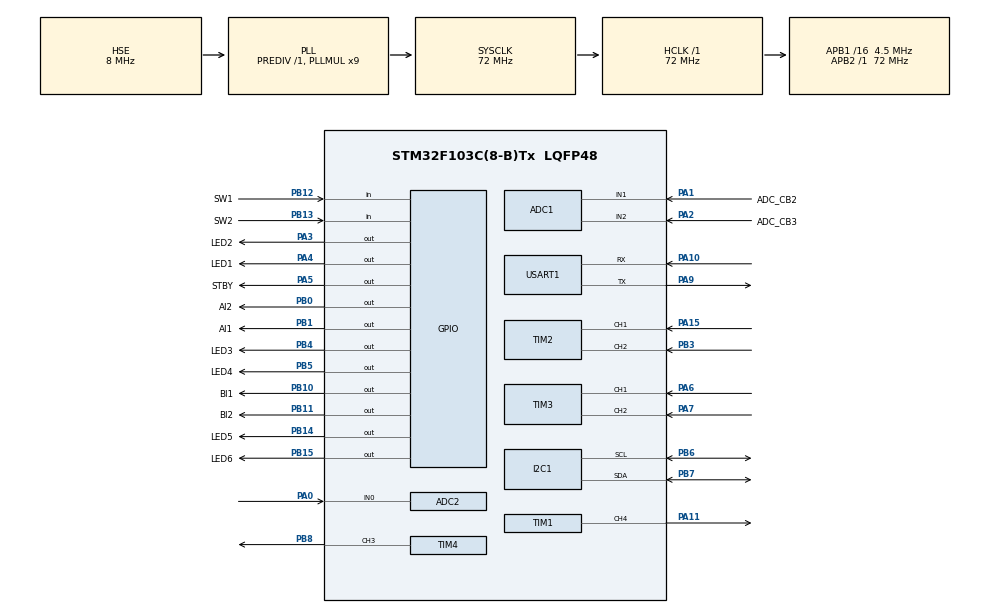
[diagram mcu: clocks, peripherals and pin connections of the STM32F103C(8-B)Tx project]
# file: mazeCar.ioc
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ADC1.Channel-3\#ChannelRegularConversion=ADC_CHANNEL_1
ADC1.Channel-4\#ChannelRegularConversion=ADC_CHANNEL_2
ADC1.ContinuousConvMode=ENABLE
ADC1.NbrOfConversion=2
ADC1.NbrOfConversionFlag=1
ADC1.Rank-3\#ChannelRegularConversion=1
ADC1.Rank-4\#ChannelRegularConversion=2
ADC1.SamplingTime-3\#ChannelRegularConversion=ADC_SAMPLETIME_239CYCLES_5
ADC1.SamplingTime-4\#ChannelRegularConversion=ADC_SAMPLETIME_239CYCLES_5
ADC1.master=1
ADC2.Channel-0\#ChannelRegularConversion=ADC_CHANNEL_0
ADC2.NbrOfConversionFlag=1
ADC2.Rank-0\#ChannelRegularConversion=1
ADC2.SamplingTime-0\#ChannelRegularConversion=ADC_SAMPLETIME_239CYCLES_5
Mcu.Family=STM32F1
Mcu.Name=STM32F103C(8-B)Tx
Mcu.Package=LQFP48
NVIC.PriorityGroup=NVIC_PRIORITYGROUP_4
NVIC.TIM2_IRQn=true\:0\:0\:false\:false\:true\:true\:true\:true
NVIC.TIM3_IRQn=true\:0\:0\:false\:false\:true\:true\:true\:true
PA0-WKUP.Signal=ADCx_IN0
PA1.GPIO_Label=ADC_CB2
PA1.Signal=ADCx_IN1
PA10.Mode=Asynchronous
PA10.Signal=USART1_RX
PA11.Signal=S_TIM1_CH4
PA13.Mode=Serial_Wire
PA13.Signal=SYS_JTMS-SWDIO
PA14.Mode=Serial_Wire
PA14.Signal=SYS_JTCK-SWCLK
PA15.Signal=S_TIM2_CH1_ETR
PA2.GPIO_Label=ADC_CB3
PA2.Signal=ADCx_IN2
PA3.GPIO_Label=LED2
PA3.Signal=GPIO_Output
PA4.GPIO_Label=LED1
PA4.Signal=GPIO_Output
PA5.GPIO_Label=STBY
PA5.Signal=GPIO_Output
PA6.Signal=S_TIM3_CH1
PA7.Signal=S_TIM3_CH2
PA9.Mode=Asynchronous
PA9.Signal=USART1_TX
PB0.GPIO_Label=AI2
PB0.Signal=GPIO_Output
PB1.GPIO_Label=AI1
PB1.Signal=GPIO_Output
PB10.GPIO_Label=BI1
PB10.Signal=GPIO_Output
PB11.GPIO_Label=BI2
PB11.Signal=GPIO_Output
PB12.GPIO_Label=SW1
PB12.GPIO_PuPd=GPIO_PULLUP
PB12.Signal=GPIO_Input
PB13.GPIO_Label=SW2
PB13.GPIO_PuPd=GPIO_PULLUP
PB13.Signal=GPIO_Input
PB14.GPIO_Label=LED5
PB14.Signal=GPIO_Output
PB15.GPIO_Label=LED6
PB15.Signal=GPIO_Output
PB3.Signal=S_TIM2_CH2
PB4.GPIO_Label=LED3
PB4.Signal=GPIO_Output
PB5.GPIO_Label=LED4
PB5.Signal=GPIO_Output
PB6.Mode=I2C
PB6.Signal=I2C1_SCL
PB7.Mode=I2C
PB7.Signal=I2C1_SDA
PB8.Signal=S_TIM4_CH3
PD0-OSC_IN.Mode=HSE-External-Oscillator
PD0-OSC_IN.Signal=RCC_OSC_IN
PD1-OSC_OUT.Mode=HSE-External-Oscillator
PD1-OSC_OUT.Signal=RCC_OSC_OUT
ProjectManager.HeapSize=0x200
ProjectManager.StackSize=0x400
ProjectManager.TargetToolchain=STM32CubeIDE
RCC.ADCPresc=RCC_ADCPCLK2_DIV6
RCC.AHBFreq_Value=72000000
RCC.APB1CLKDivider=RCC_HCLK_DIV16
RCC.APB1Freq_Value=4500000
RCC.APB1TimFreq_Value=9000000
RCC.APB2Freq_Value=72000000
RCC.APB2TimFreq_Value=72000000
RCC.HCLKFreq_Value=72000000
RCC.PLLMUL=RCC_PLL_MUL9
RCC.PLLSourceVirtual=RCC_PLLSOURCE_HSE
RCC.SYSCLKFreq_VALUE=72000000
RCC.SYSCLKSource=RCC_SYSCLKSOURCE_PLLCLK
RCC.USBFreq_Value=72000000
SH.ADCx_IN0.0=ADC2_IN0,IN0
SH.ADCx_IN1.0=ADC1_IN1,IN1
SH.ADCx_IN2.0=ADC1_IN2,IN2
SH.S_TIM1_CH4.0=TIM1_CH4,PWM Generation4 CH4
SH.S_TIM2_CH1_ETR.0=TIM2_CH1,Encoder_Interface
SH.S_TIM2_CH2.0=TIM2_CH2,Encoder_Interface
SH.S_TIM3_CH1.0=TIM3_CH1,Encoder_Interface
SH.S_TIM3_CH2.0=TIM3_CH2,Encoder_Interface
SH.S_TIM4_CH3.0=TIM4_CH3,PWM Generation3 CH3
TIM1.Channel-PWM\ Generation4\ CH4=TIM_CHANNEL_4
TIM1.Period=10000-1
TIM1.Prescaler=18-1
TIM4.Channel-PWM\ Generation3\ CH3=TIM_CHANNEL_3
TIM4.Period=10000-1
TIM4.Prescaler=18-1
USART1.VirtualMode=VM_ASYNC
VP_TIM1_VS_ClockSourceINT.Mode=Internal
VP_TIM4_VS_ClockSourceINT.Mode=Internal
board=custom

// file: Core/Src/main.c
/* USER CODE BEGIN Header */
/**
  ******************************************************************************
  * @file           : main.c
  * @brief          : Main program body
  ******************************************************************************
  * @attention
  *
  * Copyright (c) 2024 STMicroelectronics.
  * All rights reserved.
  *
  * This software is licensed under terms that can be found in the LICENSE file
  * in the root directory of this software component.
  * If no LICENSE file comes with this software, it is provided AS-IS.
  *
  ******************************************************************************
  */
/* USER CODE END Header */
#include "main.h"

/* USER CODE BEGIN Includes */
#include <stdio.h>
#include "ADXL345.h"
#include "MPU6050.h"
#include "L3G4200D.h"
#include "math.h"
/* USER CODE END Includes */

ADC_HandleTypeDef hadc1;
ADC_HandleTypeDef hadc2;

I2C_HandleTypeDef hi2c1;

TIM_HandleTypeDef htim1;
TIM_HandleTypeDef htim2;
TIM_HandleTypeDef htim3;
TIM_HandleTypeDef htim4;

UART_HandleTypeDef huart1;

/* USER CODE BEGIN PV */
uint16_t ADC_VAL[3];
float vol1 = 0;
float vol2 = 0;
float vol3 = 0;

float front_sensor = 0;
float left_sensor = 0;
float right_sensor = 0;

char Buffer[25] = {0};
uint16_t x,y,z;
MPU6050_t MPU6050;

double roll,pitch,yaw, froll, fpitch, fyaw = 0;
uint32_t elapsedTime, currentTime, previousTime;
double dt = 0.015;

uint32_t counterTim2 = 0;
int16_t countTim2 = 0;
int16_t right_wheel = 0;

uint32_t counterTim3 = 0;
int16_t countTim3 = 0;
int16_t left_wheel = 0;
int arr[6][5] = { 0 };
int speed =0;

/* USER CODE END PV */

void SystemClock_Config(void);
static void MX_GPIO_Init(void);
static void MX_ADC1_Init(void);
static void MX_USART1_UART_Init(void);
static void MX_I2C1_Init(void);
static void MX_TIM2_Init(void);
static void MX_TIM1_Init(void);
static void MX_TIM3_Init(void);
static void MX_TIM4_Init(void);
static void MX_ADC2_Init(void);

/* USER CODE BEGIN 0 */

int _write(int file, char *ptr, int len)
{
    HAL_UART_Transmit(&huart1, (uint8_t*)ptr, len, HAL_MAX_DELAY);
    return len;
}

void ADC_Select_CH0(void){
    ADC_ChannelConfTypeDef sConfig = {0};

	sConfig.Channel = ADC_CHANNEL_0;
	sConfig.Rank = ADC_REGULAR_RANK_1;
	sConfig.SamplingTime = ADC_SAMPLETIME_71CYCLES_5;
	if (HAL_ADC_ConfigChannel(&hadc1, &sConfig) != HAL_OK)
	{
	  Error_Handler();
	}
}
void ADC_Select_CH1(void){
  ADC_ChannelConfTypeDef sConfig = {0};
	sConfig.Channel = ADC_CHANNEL_1;
	sConfig.Rank = ADC_REGULAR_RANK_1;
	sConfig.SamplingTime = ADC_SAMPLETIME_71CYCLES_5;
	if (HAL_ADC_ConfigChannel(&hadc1, &sConfig) != HAL_OK)
	{
	  Error_Handler();
	}
}
void ADC_Select_CH2(void){
  ADC_ChannelConfTypeDef sConfig = {0};
	sConfig.Channel = ADC_CHANNEL_2;
	sConfig.Rank = ADC_REGULAR_RANK_1;
	sConfig.SamplingTime = ADC_SAMPLETIME_71CYCLES_5;
	if (HAL_ADC_ConfigChannel(&hadc1, &sConfig) != HAL_OK)
	{
	  Error_Handler();
	}
}

void filter_gyro();

void HAL_TIM_IC_CaptureCallback(TIM_HandleTypeDef *htim)
{
    if (htim->Instance == TIM2)
    {
        counterTim2 = __HAL_TIM_GET_COUNTER(htim);
        countTim2 = (int16_t)counterTim2;
        right_wheel = countTim2 / 4;
    }
    else if (htim->Instance == TIM3)
    {
        counterTim3 = __HAL_TIM_GET_COUNTER(htim);
        countTim3 = (int16_t)counterTim3;
        left_wheel = countTim3 / 4;
        // Process count for TIM3
    }
}
void markPath(int x, int y) {
    if(x >= 0 && x < 6 && y >= 0 && y < 5) {
        arr[x][y] = 1;
    }
}
/* USER CODE END 0 */

int main(void)
{

  /* MCU Configuration--------------------------------------------------------*/

  /* Reset of all peripherals, Initializes the Flash interface and the Systick. */
  HAL_Init();

  /* Configure the system clock */
  SystemClock_Config();

  /* Initialize all configured peripherals */
  MX_GPIO_Init();
  MX_ADC1_Init();
  MX_USART1_UART_Init();
  MX_I2C1_Init();
  MX_TIM2_Init();
  MX_TIM1_Init();
  MX_TIM3_Init();
  MX_TIM4_Init();
  MX_ADC2_Init();
  /* USER CODE BEGIN 2 */
  printf("hello world\r\n");
  HAL_TIM_Encoder_Start_IT(&htim2, TIM_CHANNEL_ALL);
  HAL_TIM_Encoder_Start_IT(&htim3, TIM_CHANNEL_ALL);

  HAL_TIM_PWM_Start(&htim1, TIM_CHANNEL_4);
  HAL_TIM_PWM_Start(&htim4, TIM_CHANNEL_3);

  while (MPU6050_Init(&hi2c1) == 1);
  printf("init success\r\n");
  filter_gyro();

  /* USER CODE END 2 */

  /* Infinite loop */
  /* USER CODE BEGIN WHILE */
//  HAL_GPIO_WritePin(GPIOA, GPIO_PIN_5, SET);
//  HAL_GPIO_WritePin(AI2_GPIO_Port, AI2_Pin,SET);
//  HAL_GPIO_WritePin(AI1_GPIO_Port, AI1_Pin,RESET);
//  HAL_GPIO_WritePin(BI2_GPIO_Port, BI2_Pin,SET);
//  HAL_GPIO_WritePin(BI1_GPIO_Port, BI1_Pin,RESET);
  int startX = 5;
  int startY = 0;
  markPath(x, y);
  while (1)
  {
    /* USER CODE END WHILE */

    /* USER CODE BEGIN 3 */
//	  while(1){
//		  if(HAL_GPIO_ReadPin(SW1_GPIO_Port, SW1_Pin) == 0){
//			  HAL_GPIO_WritePin(LED1_GPIO_Port, LED1_Pin,SET);
//		  }
//		  if(HAL_GPIO_ReadPin(SW2_GPIO_Port, SW2_Pin) == 0){
//			  HAL_GPIO_WritePin(LED1_GPIO_Port, LED1_Pin,RESET);
//		  }
//	  }
//	  while(1){
//		  HAL_GPIO_WritePin(LED1_GPIO_Port, LED1_Pin,SET);
//		  HAL_Delay(1000);
//		  HAL_GPIO_WritePin(LED1_GPIO_Port, LED1_Pin,RESET);
//		  HAL_Delay(1000);
//		  HAL_GPIO_WritePin(LED2_GPIO_Port, LED2_Pin,SET);
//		  HAL_Delay(1000);
//		  HAL_GPIO_WritePin(LED2_GPIO_Port, LED2_Pin,RESET);
//		  HAL_Delay(1000);
//		  HAL_GPIO_WritePin(LED3_GPIO_Port, LED3_Pin,SET);
//		  HAL_Delay(1000);
//		  HAL_GPIO_WritePin(LED3_GPIO_Port, LED3_Pin,RESET);
//		  HAL_Delay(1000);
//
//		  HAL_GPIO_WritePin(LED4_GPIO_Port, LED4_Pin,SET);
//		  HAL_Delay(1000);
//		  HAL_GPIO_WritePin(LED4_GPIO_Port, LED4_Pin,RESET);
//		  HAL_Delay(1000);
//
//		  HAL_GPIO_WritePin(LED5_GPIO_Port, LED5_Pin,SET);
//		  HAL_Delay(1000);
//		  HAL_GPIO_WritePin(LED5_GPIO_Port, LED5_Pin,RESET);
//		  HAL_Delay(1000);
//
//		  HAL_GPIO_WritePin(LED6_GPIO_Port, LED6_Pin,SET);
//		  HAL_Delay(1000);
//		  HAL_GPIO_WritePin(LED6_GPIO_Port, LED6_Pin,RESET);
//		  HAL_Delay(1000);
//	  }

//	  __HAL_TIM_SET_COMPARE(&htim1, TIM_CHANNEL_4,5000); //left
//	  __HAL_TIM_SET_COMPARE(&htim4, TIM_CHANNEL_3,5150); // right
//	  while(1){
//
//	  }

//	  previousTime = HAL_GetTick();
//	  MPU6050_Read_Gyro(&hi2c1, &MPU6050);
//	  roll += (MPU6050.Gx - froll) *dt;
//	  pitch += (MPU6050.Gy - fpitch) *dt;
//	  yaw += (MPU6050.Gz - fyaw) *dt;
//
////	  printf("X: %d Y: %d Z: %d\r\n",(int) roll, (int)pitch, (int)yaw);
//	  currentTime = HAL_GetTick();
//	  elapsedTime = currentTime - previousTime;
//	  dt = ((double) elapsedTime) / 1000;
//	  printf("GX: %d GY: %d GZ: %d dt: %f\r\n",(int)MPU6050.Gx, (int)MPU6050.Gy, (int)MPU6050.Gz,dt);

	HAL_ADC_Start(&hadc2);
	HAL_ADC_PollForConversion(&hadc2, 1000);
	ADC_VAL[0] = HAL_ADC_GetValue(&hadc2);
	HAL_ADC_Stop(&hadc2);
	HAL_Delay(20);
	vol1 = (ADC_VAL[0]*3.3)/4095;
	front_sensor = 13 * pow(vol1, -1);

	ADC_Select_CH1();
	HAL_ADC_Start(&hadc1);
	HAL_ADC_PollForConversion(&hadc1, 1000);
	ADC_VAL[1] = HAL_ADC_GetValue(&hadc1);
	HAL_ADC_Stop(&hadc1);
	HAL_Delay(20);
	vol2 = (ADC_VAL[1]*3.3)/4095;
	left_sensor =  13 * pow(vol2, -1);

	ADC_Select_CH2();
	HAL_ADC_Start(&hadc1);
	HAL_ADC_PollForConversion(&hadc1, 1000);
	ADC_VAL[2] = HAL_ADC_GetValue(&hadc1);
	HAL_ADC_Stop(&hadc1);
	HAL_Delay(20);
	vol3 = (ADC_VAL[2]*3.3)/4095;
	right_sensor =  13 * pow(vol3, -1);
//	5000L - 5150R
//	  forward(); //670 = 18cm
//	  turn_right(); //320 = 90 degree
//	  turn_left(); //300
	float t = 5.736;
	float t1 = 5.864;
	float t2 = 6;
	float ss = 1.1;
	float ss1 = 0.17;
	if (left_sensor < t && right_sensor > t1 && front_sensor > t2
		&& left_sensor > t-ss1 && right_sensor > t1+ss1){
		turn_right_nolag();
	}else if (right_sensor < t && left_sensor > t1 && front_sensor > t2
			  && right_sensor > t-ss1 && left_sensor > t1+ss1){
		turn_left_nolag();
	}else{
		if (front_sensor < t2 && left_sensor >= t-ss && left_sensor <= t1+ss && right_sensor >= t-ss && right_sensor <= t1+ss ){
			turn_180();
		}else if ( front_sensor > t2 && left_sensor >= t-ss && left_sensor <= t1+ss && right_sensor >= t-ss && right_sensor <= t1+ss ){
			forward();
		}

		else if ( front_sensor > t2 && left_sensor >= t-ss+0.7 && left_sensor <= t1+ss+7 && right_sensor >= t ){
			if (front_sensor < t2+7.7 && left_sensor >= t-ss+0.7 && left_sensor <= t1+ss+7 && right_sensor >= t ){
				way_1_right();
			}else{
//				forward();
			}
		}else if ( front_sensor > t2 && left_sensor >= t && right_sensor >= t-ss+1 && right_sensor <= t1+ss+10 ){
			if (front_sensor < t2+7.7 && left_sensor >= t && right_sensor >= t-ss+1 && right_sensor <= t1+ss+10 ){
				way_1_left();
			}else{
//				forward();
			}
		}
//		else if(front_sensor < t2+6 && left_sensor >= t+6 && right_sensor >= t+6 ){
//			forward();
//			HAL_Delay(50);
//			turn_left90();
//			HAL_Delay(230);
//		}else if(front_sensor > t2+10 && left_sensor >= t+10 && right_sensor >= t-ss && right_sensor <= t1+ss+8 ){
//			forward();
//			HAL_Delay(100);
//			turn_left90();
//			HAL_Delay(230);
//		}else if(front_sensor > t2+10 && right_sensor >= t+10 && left_sensor >= t-ss && left_sensor <= t1+ss+8 ){
//			forward();
//			HAL_Delay(100);
//			turn_right90();
//			HAL_Delay(230);
//		}else if(front_sensor > t2+10 && right_sensor >= t+10 && left_sensor >= t+10 ){
//			forward();
//			HAL_Delay(100);
//			turn_right90();
//			HAL_Delay(230);
//		}

		else{
//			stop();
		}
	}
  }
  /* USER CODE END 3 */
}
void bam_right(){
	float t = 5.736;
	if (right_sensor < t){
		turn_right();
	}
}
void bam_left(){
	float t = 5.736;
	if (left_sensor < t){
		turn_left();
	}
}
void way_1_left(){
	forward();
	HAL_Delay(810);
	turn_left90();
	HAL_Delay(300);
	forward();
	HAL_Delay(700);
}
void way_1_right(){
	forward();
	HAL_Delay(750);
	turn_right90();
	HAL_Delay(380);
	forward();
	HAL_Delay(700);
}
void turn_180(){
	turn_right90();
	HAL_Delay(740); //180 degree
}
void forward(){
	__HAL_TIM_SET_COMPARE(&htim1, TIM_CHANNEL_4,3000); //left
	__HAL_TIM_SET_COMPARE(&htim4, TIM_CHANNEL_3,3220); // right
	HAL_GPIO_WritePin(GPIOA, GPIO_PIN_5, SET);
	HAL_GPIO_WritePin(AI2_GPIO_Port, AI2_Pin,SET);
	HAL_GPIO_WritePin(AI1_GPIO_Port, AI1_Pin,RESET);
	HAL_GPIO_WritePin(BI2_GPIO_Port, BI2_Pin,SET);
	HAL_GPIO_WritePin(BI1_GPIO_Port, BI1_Pin,RESET);
}
void backward(){
	__HAL_TIM_SET_COMPARE(&htim1, TIM_CHANNEL_4,5000); //left
	__HAL_TIM_SET_COMPARE(&htim4, TIM_CHANNEL_3,5150); // right
	HAL_GPIO_WritePin(GPIOA, GPIO_PIN_5, SET);
	HAL_GPIO_WritePin(AI2_GPIO_Port, AI2_Pin,RESET);
	HAL_GPIO_WritePin(AI1_GPIO_Port, AI1_Pin,SET);
	HAL_GPIO_WritePin(BI2_GPIO_Port, BI2_Pin,RESET);
	HAL_GPIO_WritePin(BI1_GPIO_Port, BI1_Pin,SET);
}
void turn_right(){
	__HAL_TIM_SET_COMPARE(&htim1, TIM_CHANNEL_4,1600); //left
	__HAL_TIM_SET_COMPARE(&htim4, TIM_CHANNEL_3,1400); // right
	HAL_GPIO_WritePin(GPIOA, GPIO_PIN_5, SET);
    HAL_GPIO_WritePin(AI2_GPIO_Port, AI2_Pin,SET);
	HAL_GPIO_WritePin(AI1_GPIO_Port, AI1_Pin,RESET);
	HAL_GPIO_WritePin(BI2_GPIO_Port, BI2_Pin,RESET);
	HAL_GPIO_WritePin(BI1_GPIO_Port, BI1_Pin,SET);
}
void turn_left(){
	__HAL_TIM_SET_COMPARE(&htim1, TIM_CHANNEL_4,1400); //left
	__HAL_TIM_SET_COMPARE(&htim4, TIM_CHANNEL_3,1600); // right
	HAL_GPIO_WritePin(GPIOA, GPIO_PIN_5, SET);
	HAL_GPIO_WritePin(AI2_GPIO_Port, AI2_Pin,RESET);
	HAL_GPIO_WritePin(AI1_GPIO_Port, AI1_Pin,SET);
	HAL_GPIO_WritePin(BI2_GPIO_Port, BI2_Pin,SET);
	HAL_GPIO_WritePin(BI1_GPIO_Port, BI1_Pin,RESET);
}
void turn_right_nolag(){
	__HAL_TIM_SET_COMPARE(&htim1, TIM_CHANNEL_4,3000); //left
	__HAL_TIM_SET_COMPARE(&htim4, TIM_CHANNEL_3,1580); // right
	HAL_GPIO_WritePin(GPIOA, GPIO_PIN_5, SET);
    HAL_GPIO_WritePin(AI2_GPIO_Port, AI2_Pin,SET);
	HAL_GPIO_WritePin(AI1_GPIO_Port, AI1_Pin,RESET);
	HAL_GPIO_WritePin(BI2_GPIO_Port, BI2_Pin,SET);
	HAL_GPIO_WritePin(BI1_GPIO_Port, BI1_Pin,RESET);
}
void turn_left_nolag(){
	__HAL_TIM_SET_COMPARE(&htim1, TIM_CHANNEL_4,1580); //left
	__HAL_TIM_SET_COMPARE(&htim4, TIM_CHANNEL_3,3000); // right
	HAL_GPIO_WritePin(GPIOA, GPIO_PIN_5, SET);
	HAL_GPIO_WritePin(AI2_GPIO_Port, AI2_Pin,SET);
	HAL_GPIO_WritePin(AI1_GPIO_Port, AI1_Pin,RESET);
	HAL_GPIO_WritePin(BI2_GPIO_Port, BI2_Pin,SET);
	HAL_GPIO_WritePin(BI1_GPIO_Port, BI1_Pin,RESET);
}
void turn_right90(){
	__HAL_TIM_SET_COMPARE(&htim1, TIM_CHANNEL_4,4000); //left
	__HAL_TIM_SET_COMPARE(&htim4, TIM_CHANNEL_3,4150); // right
	HAL_GPIO_WritePin(GPIOA, GPIO_PIN_5, SET);
    HAL_GPIO_WritePin(AI2_GPIO_Port, AI2_Pin,SET);
	HAL_GPIO_WritePin(AI1_GPIO_Port, AI1_Pin,RESET);
	HAL_GPIO_WritePin(BI2_GPIO_Port, BI2_Pin,RESET);
	HAL_GPIO_WritePin(BI1_GPIO_Port, BI1_Pin,SET);
}
void turn_left90(){
	__HAL_TIM_SET_COMPARE(&htim1, TIM_CHANNEL_4,5000); //left
	__HAL_TIM_SET_COMPARE(&htim4, TIM_CHANNEL_3,5150); // right
	HAL_GPIO_WritePin(GPIOA, GPIO_PIN_5, SET);
	HAL_GPIO_WritePin(AI2_GPIO_Port, AI2_Pin,RESET);
	HAL_GPIO_WritePin(AI1_GPIO_Port, AI1_Pin,SET);
	HAL_GPIO_WritePin(BI2_GPIO_Port, BI2_Pin,SET);
	HAL_GPIO_WritePin(BI1_GPIO_Port, BI1_Pin,RESET);
}
void stop(){
	HAL_GPIO_WritePin(GPIOA, GPIO_PIN_5, SET);
	HAL_GPIO_WritePin(AI2_GPIO_Port, AI2_Pin,RESET);
	HAL_GPIO_WritePin(AI1_GPIO_Port, AI1_Pin,RESET);
	HAL_GPIO_WritePin(BI2_GPIO_Port, BI2_Pin,RESET);
	HAL_GPIO_WritePin(BI1_GPIO_Port, BI1_Pin,RESET);
}
void SystemClock_Config(void)
{
  RCC_OscInitTypeDef RCC_OscInitStruct = {0};
  RCC_ClkInitTypeDef RCC_ClkInitStruct = {0};
  RCC_PeriphCLKInitTypeDef PeriphClkInit = {0};

  /** Initializes the RCC Oscillators according to the specified parameters
  * in the RCC_OscInitTypeDef structure.
  */
  RCC_OscInitStruct.OscillatorType = RCC_OSCILLATORTYPE_HSE;
  RCC_OscInitStruct.HSEState = RCC_HSE_ON;
  RCC_OscInitStruct.HSEPredivValue = RCC_HSE_PREDIV_DIV1;
  RCC_OscInitStruct.HSIState = RCC_HSI_ON;
  RCC_OscInitStruct.PLL.PLLState = RCC_PLL_ON;
  RCC_OscInitStruct.PLL.PLLSource = RCC_PLLSOURCE_HSE;
  RCC_OscInitStruct.PLL.PLLMUL = RCC_PLL_MUL9;
  if (HAL_RCC_OscConfig(&RCC_OscInitStruct) != HAL_OK)
  {
    Error_Handler();
  }

  /** Initializes the CPU, AHB and APB buses clocks
  */
  RCC_ClkInitStruct.ClockType = RCC_CLOCKTYPE_HCLK|RCC_CLOCKTYPE_SYSCLK
                              |RCC_CLOCKTYPE_PCLK1|RCC_CLOCKTYPE_PCLK2;
  RCC_ClkInitStruct.SYSCLKSource = RCC_SYSCLKSOURCE_PLLCLK;
  RCC_ClkInitStruct.AHBCLKDivider = RCC_SYSCLK_DIV1;
  RCC_ClkInitStruct.APB1CLKDivider = RCC_HCLK_DIV16;
  RCC_ClkInitStruct.APB2CLKDivider = RCC_HCLK_DIV1;

  if (HAL_RCC_ClockConfig(&RCC_ClkInitStruct, FLASH_LATENCY_2) != HAL_OK)
  {
    Error_Handler();
  }
  PeriphClkInit.PeriphClockSelection = RCC_PERIPHCLK_ADC;
  PeriphClkInit.AdcClockSelection = RCC_ADCPCLK2_DIV6;
  if (HAL_RCCEx_PeriphCLKConfig(&PeriphClkInit) != HAL_OK)
  {
    Error_Handler();
  }
}

static void MX_ADC1_Init(void)
{

//  ADC_ChannelConfTypeDef sConfig = {0};

  /** Common config
  */
  hadc1.Instance = ADC1;
  hadc1.Init.ScanConvMode = ADC_SCAN_ENABLE;
  hadc1.Init.ContinuousConvMode = ENABLE;
  hadc1.Init.DiscontinuousConvMode = DISABLE;
  hadc1.Init.ExternalTrigConv = ADC_SOFTWARE_START;
  hadc1.Init.DataAlign = ADC_DATAALIGN_RIGHT;
  hadc1.Init.NbrOfConversion = 1;
  if (HAL_ADC_Init(&hadc1) != HAL_OK)
  {
    Error_Handler();
  }

  /** Configure Regular Channel
  */
//  sConfig.Channel = ADC_CHANNEL_1;
//  sConfig.Rank = ADC_REGULAR_RANK_1;
//  sConfig.SamplingTime = ADC_SAMPLETIME_239CYCLES_5;
//  if (HAL_ADC_ConfigChannel(&hadc1, &sConfig) != HAL_OK)
//  {
//    Error_Handler();
//  }
//
//  /** Configure Regular Channel
//  */
//  sConfig.Channel = ADC_CHANNEL_2;
//  sConfig.Rank = ADC_REGULAR_RANK_2;
//  if (HAL_ADC_ConfigChannel(&hadc1, &sConfig) != HAL_OK)
//  {
//    Error_Handler();
//  }

}

static void MX_ADC2_Init(void)
{

  ADC_ChannelConfTypeDef sConfig = {0};

  /** Common config
  */
  hadc2.Instance = ADC2;
  hadc2.Init.ScanConvMode = ADC_SCAN_DISABLE;
  hadc2.Init.ContinuousConvMode = DISABLE;
  hadc2.Init.DiscontinuousConvMode = DISABLE;
  hadc2.Init.ExternalTrigConv = ADC_SOFTWARE_START;
  hadc2.Init.DataAlign = ADC_DATAALIGN_RIGHT;
  hadc2.Init.NbrOfConversion = 1;
  if (HAL_ADC_Init(&hadc2) != HAL_OK)
  {
    Error_Handler();
  }

  /** Configure Regular Channel
  */
  sConfig.Channel = ADC_CHANNEL_0;
  sConfig.Rank = ADC_REGULAR_RANK_1;
  sConfig.SamplingTime = ADC_SAMPLETIME_239CYCLES_5;
  if (HAL_ADC_ConfigChannel(&hadc2, &sConfig) != HAL_OK)
  {
    Error_Handler();
  }

}

static void MX_I2C1_Init(void)
{

  hi2c1.Instance = I2C1;
  hi2c1.Init.ClockSpeed = 100000;
  hi2c1.Init.DutyCycle = I2C_DUTYCYCLE_2;
  hi2c1.Init.OwnAddress1 = 0;
  hi2c1.Init.AddressingMode = I2C_ADDRESSINGMODE_7BIT;
  hi2c1.Init.DualAddressMode = I2C_DUALADDRESS_DISABLE;
  hi2c1.Init.OwnAddress2 = 0;
  hi2c1.Init.GeneralCallMode = I2C_GENERALCALL_DISABLE;
  hi2c1.Init.NoStretchMode = I2C_NOSTRETCH_DISABLE;
  if (HAL_I2C_Init(&hi2c1) != HAL_OK)
  {
    Error_Handler();
  }

}

static void MX_TIM1_Init(void)
{

  TIM_ClockConfigTypeDef sClockSourceConfig = {0};
  TIM_MasterConfigTypeDef sMasterConfig = {0};
  TIM_OC_InitTypeDef sConfigOC = {0};
  TIM_BreakDeadTimeConfigTypeDef sBreakDeadTimeConfig = {0};

  htim1.Instance = TIM1;
  htim1.Init.Prescaler = 18-1;
  htim1.Init.CounterMode = TIM_COUNTERMODE_UP;
  htim1.Init.Period = 10000-1;
  htim1.Init.ClockDivision = TIM_CLOCKDIVISION_DIV1;
  htim1.Init.RepetitionCounter = 0;
  htim1.Init.AutoReloadPreload = TIM_AUTORELOAD_PRELOAD_DISABLE;
  if (HAL_TIM_Base_Init(&htim1) != HAL_OK)
  {
    Error_Handler();
  }
  sClockSourceConfig.ClockSource = TIM_CLOCKSOURCE_INTERNAL;
  if (HAL_TIM_ConfigClockSource(&htim1, &sClockSourceConfig) != HAL_OK)
  {
    Error_Handler();
  }
  if (HAL_TIM_PWM_Init(&htim1) != HAL_OK)
  {
    Error_Handler();
  }
  sMasterConfig.MasterOutputTrigger = TIM_TRGO_RESET;
  sMasterConfig.MasterSlaveMode = TIM_MASTERSLAVEMODE_DISABLE;
  if (HAL_TIMEx_MasterConfigSynchronization(&htim1, &sMasterConfig) != HAL_OK)
  {
    Error_Handler();
  }
  sConfigOC.OCMode = TIM_OCMODE_PWM1;
  sConfigOC.Pulse = 0;
  sConfigOC.OCPolarity = TIM_OCPOLARITY_HIGH;
  sConfigOC.OCFastMode = TIM_OCFAST_DISABLE;
  sConfigOC.OCIdleState = TIM_OCIDLESTATE_RESET;
  sConfigOC.OCNIdleState = TIM_OCNIDLESTATE_RESET;
  if (HAL_TIM_PWM_ConfigChannel(&htim1, &sConfigOC, TIM_CHANNEL_4) != HAL_OK)
  {
    Error_Handler();
  }
  sBreakDeadTimeConfig.OffStateRunMode = TIM_OSSR_DISABLE;
  sBreakDeadTimeConfig.OffStateIDLEMode = TIM_OSSI_DISABLE;
  sBreakDeadTimeConfig.LockLevel = TIM_LOCKLEVEL_OFF;
  sBreakDeadTimeConfig.DeadTime = 0;
  sBreakDeadTimeConfig.BreakState = TIM_BREAK_DISABLE;
  sBreakDeadTimeConfig.BreakPolarity = TIM_BREAKPOLARITY_HIGH;
  sBreakDeadTimeConfig.AutomaticOutput = TIM_AUTOMATICOUTPUT_DISABLE;
  if (HAL_TIMEx_ConfigBreakDeadTime(&htim1, &sBreakDeadTimeConfig) != HAL_OK)
  {
    Error_Handler();
  }
  HAL_TIM_MspPostInit(&htim1);

}

static void MX_TIM2_Init(void)
{

  TIM_Encoder_InitTypeDef sConfig = {0};
  TIM_MasterConfigTypeDef sMasterConfig = {0};

  htim2.Instance = TIM2;
  htim2.Init.Prescaler = 0;
  htim2.Init.CounterMode = TIM_COUNTERMODE_UP;
  htim2.Init.Period = 65535;
  htim2.Init.ClockDivision = TIM_CLOCKDIVISION_DIV1;
  htim2.Init.AutoReloadPreload = TIM_AUTORELOAD_PRELOAD_DISABLE;
  sConfig.EncoderMode = TIM_ENCODERMODE_TI1;
  sConfig.IC1Polarity = TIM_ICPOLARITY_RISING;
  sConfig.IC1Selection = TIM_ICSELECTION_DIRECTTI;
  sConfig.IC1Prescaler = TIM_ICPSC_DIV1;
  sConfig.IC1Filter = 0;
  sConfig.IC2Polarity = TIM_ICPOLARITY_RISING;
  sConfig.IC2Selection = TIM_ICSELECTION_DIRECTTI;
  sConfig.IC2Prescaler = TIM_ICPSC_DIV1;
  sConfig.IC2Filter = 0;
  if (HAL_TIM_Encoder_Init(&htim2, &sConfig) != HAL_OK)
  {
    Error_Handler();
  }
  sMasterConfig.MasterOutputTrigger = TIM_TRGO_RESET;
  sMasterConfig.MasterSlaveMode = TIM_MASTERSLAVEMODE_DISABLE;
  if (HAL_TIMEx_MasterConfigSynchronization(&htim2, &sMasterConfig) != HAL_OK)
  {
    Error_Handler();
  }

}

static void MX_TIM3_Init(void)
{

  TIM_Encoder_InitTypeDef sConfig = {0};
  TIM_MasterConfigTypeDef sMasterConfig = {0};

  htim3.Instance = TIM3;
  htim3.Init.Prescaler = 0;
  htim3.Init.CounterMode = TIM_COUNTERMODE_UP;
  htim3.Init.Period = 65535;
  htim3.Init.ClockDivision = TIM_CLOCKDIVISION_DIV1;
  htim3.Init.AutoReloadPreload = TIM_AUTORELOAD_PRELOAD_DISABLE;
  sConfig.EncoderMode = TIM_ENCODERMODE_TI1;
  sConfig.IC1Polarity = TIM_ICPOLARITY_RISING;
  sConfig.IC1Selection = TIM_ICSELECTION_DIRECTTI;
  sConfig.IC1Prescaler = TIM_ICPSC_DIV1;
  sConfig.IC1Filter = 0;
  sConfig.IC2Polarity = TIM_ICPOLARITY_RISING;
  sConfig.IC2Selection = TIM_ICSELECTION_DIRECTTI;
  sConfig.IC2Prescaler = TIM_ICPSC_DIV1;
  sConfig.IC2Filter = 0;
  if (HAL_TIM_Encoder_Init(&htim3, &sConfig) != HAL_OK)
  {
    Error_Handler();
  }
  sMasterConfig.MasterOutputTrigger = TIM_TRGO_RESET;
  sMasterConfig.MasterSlaveMode = TIM_MASTERSLAVEMODE_DISABLE;
  if (HAL_TIMEx_MasterConfigSynchronization(&htim3, &sMasterConfig) != HAL_OK)
  {
    Error_Handler();
  }

}

static void MX_TIM4_Init(void)
{

  TIM_ClockConfigTypeDef sClockSourceConfig = {0};
  TIM_MasterConfigTypeDef sMasterConfig = {0};
  TIM_OC_InitTypeDef sConfigOC = {0};

  htim4.Instance = TIM4;
  htim4.Init.Prescaler = 18-1;
  htim4.Init.CounterMode = TIM_COUNTERMODE_UP;
  htim4.Init.Period = 10000-1;
  htim4.Init.ClockDivision = TIM_CLOCKDIVISION_DIV1;
  htim4.Init.AutoReloadPreload = TIM_AUTORELOAD_PRELOAD_DISABLE;
  if (HAL_TIM_Base_Init(&htim4) != HAL_OK)
  {
    Error_Handler();
  }
  sClockSourceConfig.ClockSource = TIM_CLOCKSOURCE_INTERNAL;
  if (HAL_TIM_ConfigClockSource(&htim4, &sClockSourceConfig) != HAL_OK)
  {
    Error_Handler();
  }
  if (HAL_TIM_PWM_Init(&htim4) != HAL_OK)
  {
    Error_Handler();
  }
  sMasterConfig.MasterOutputTrigger = TIM_TRGO_RESET;
  sMasterConfig.MasterSlaveMode = TIM_MASTERSLAVEMODE_DISABLE;
  if (HAL_TIMEx_MasterConfigSynchronization(&htim4, &sMasterConfig) != HAL_OK)
  {
    Error_Handler();
  }
  sConfigOC.OCMode = TIM_OCMODE_PWM1;
  sConfigOC.Pulse = 0;
  sConfigOC.OCPolarity = TIM_OCPOLARITY_HIGH;
  sConfigOC.OCFastMode = TIM_OCFAST_DISABLE;
  if (HAL_TIM_PWM_ConfigChannel(&htim4, &sConfigOC, TIM_CHANNEL_3) != HAL_OK)
  {
    Error_Handler();
  }
  HAL_TIM_MspPostInit(&htim4);

}

static void MX_USART1_UART_Init(void)
{

  huart1.Instance = USART1;
  huart1.Init.BaudRate = 115200;
  huart1.Init.WordLength = UART_WORDLENGTH_8B;
  huart1.Init.StopBits = UART_STOPBITS_1;
  huart1.Init.Parity = UART_PARITY_NONE;
  huart1.Init.Mode = UART_MODE_TX_RX;
  huart1.Init.HwFlowCtl = UART_HWCONTROL_NONE;
  huart1.Init.OverSampling = UART_OVERSAMPLING_16;
  if (HAL_UART_Init(&huart1) != HAL_OK)
  {
    Error_Handler();
  }

}

static void MX_GPIO_Init(void)
{
  GPIO_InitTypeDef GPIO_InitStruct = {0};

  /* GPIO Ports Clock Enable */
  __HAL_RCC_GPIOD_CLK_ENABLE();
  __HAL_RCC_GPIOA_CLK_ENABLE();
  __HAL_RCC_GPIOB_CLK_ENABLE();

  /*Configure GPIO pin Output Level */
  HAL_GPIO_WritePin(GPIOA, LED2_Pin|LED1_Pin|STBY_Pin, GPIO_PIN_RESET);

  /*Configure GPIO pin Output Level */
  HAL_GPIO_WritePin(GPIOB, AI2_Pin|AI1_Pin|BI1_Pin|BI2_Pin
                          |LED5_Pin|LED6_Pin|LED3_Pin|LED4_Pin, GPIO_PIN_RESET);

  /*Configure GPIO pins : LED2_Pin LED1_Pin STBY_Pin */
  GPIO_InitStruct.Pin = LED2_Pin|LED1_Pin|STBY_Pin;
  GPIO_InitStruct.Mode = GPIO_MODE_OUTPUT_PP;
  GPIO_InitStruct.Pull = GPIO_NOPULL;
  GPIO_InitStruct.Speed = GPIO_SPEED_FREQ_LOW;
  HAL_GPIO_Init(GPIOA, &GPIO_InitStruct);

  /*Configure GPIO pins : AI2_Pin AI1_Pin BI1_Pin BI2_Pin
                           LED5_Pin LED6_Pin LED3_Pin LED4_Pin */
  GPIO_InitStruct.Pin = AI2_Pin|AI1_Pin|BI1_Pin|BI2_Pin
                          |LED5_Pin|LED6_Pin|LED3_Pin|LED4_Pin;
  GPIO_InitStruct.Mode = GPIO_MODE_OUTPUT_PP;
  GPIO_InitStruct.Pull = GPIO_NOPULL;
  GPIO_InitStruct.Speed = GPIO_SPEED_FREQ_LOW;
  HAL_GPIO_Init(GPIOB, &GPIO_InitStruct);

  /*Configure GPIO pins : SW1_Pin SW2_Pin */
  GPIO_InitStruct.Pin = SW1_Pin|SW2_Pin;
  GPIO_InitStruct.Mode = GPIO_MODE_INPUT;
  GPIO_InitStruct.Pull = GPIO_PULLUP;
  HAL_GPIO_Init(GPIOB, &GPIO_InitStruct);

}

/* USER CODE BEGIN 4 */
void filter_gyro(){
	printf("Start probe filter\r\n");
	HAL_Delay(500);
	for(uint8_t x = 0; x < 10; x++){
		printf("*");
	    HAL_Delay(100);
	}
	printf("*\r\n");
	for(int x = 0; x < 1000; x++){
		MPU6050_Read_Gyro(&hi2c1, &MPU6050);
		froll += MPU6050.Gx;
		fpitch += MPU6050.Gy;
		fyaw += MPU6050.Gz;
	}
	froll = froll / 1000;
	fpitch = fpitch /1000;
	fyaw = fyaw/1000;
	printf("froll: %.2f fpitch: %.2f fyaw: %.2f\r\n",froll, fpitch, fyaw);
	printf("Prove filter done!\r\n");

}
/* USER CODE END 4 */

void Error_Handler(void)
{
  __disable_irq();
  while (1)
  {
  }
}
